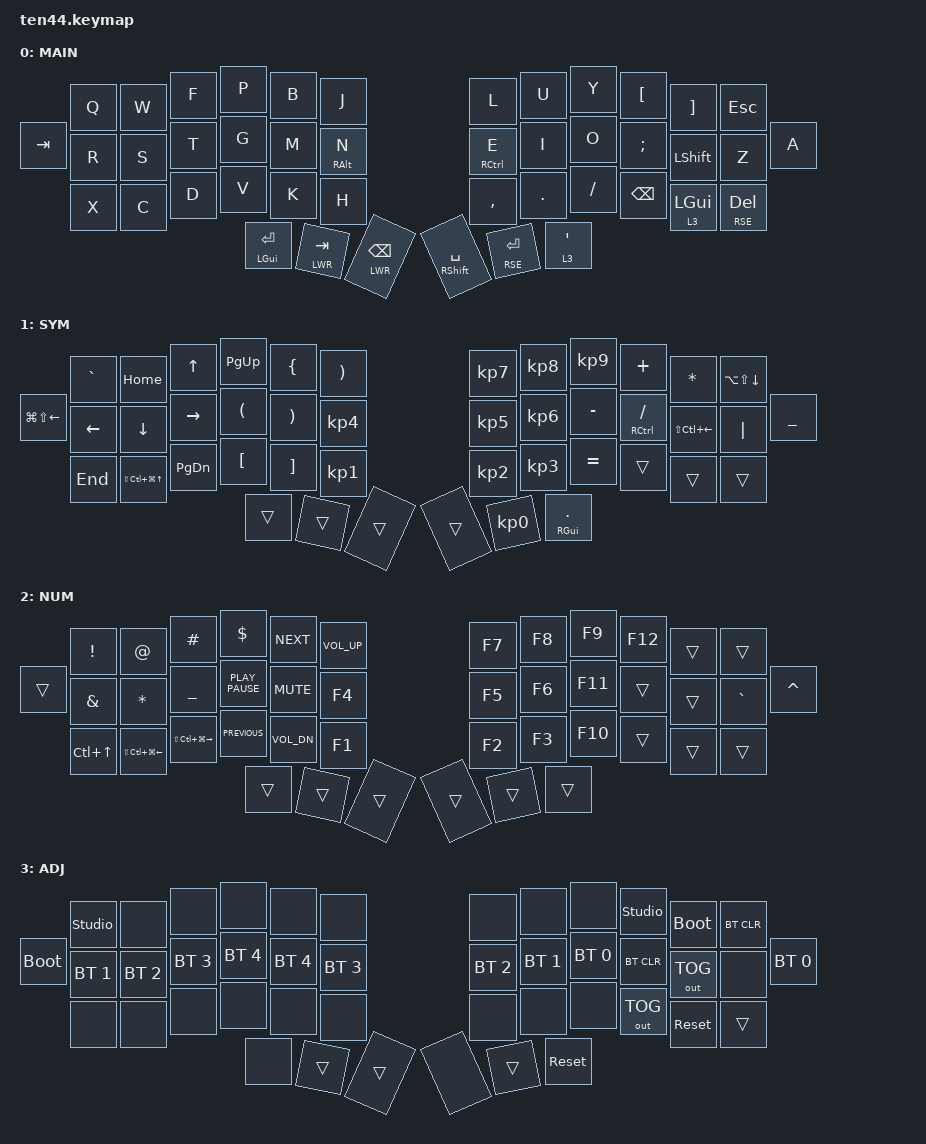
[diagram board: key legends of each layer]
/*
 * Copyright (c) 2020 The ZMK Contributors
 *
 * SPDX-License-Identifier: MIT
 */

#include <behaviors.dtsi>
#include <dt-bindings/zmk/bt.h>
#include <dt-bindings/zmk/keys.h>
#include <dt-bindings/zmk/outputs.h>

#define DEF 0
#define LWR 1
#define RSE 2
#define ADJ 3

&lt { quick-tap-ms = <200>; }; 
&mt { quick-tap-ms = <200>; };

/ {
    conditional_layers {
        compatible = "zmk,conditional-layers";

        tri_layer {
            if-layers = <LWR RSE>;
            then-layer = <ADJ>;
        };
    };

    keymap {
        compatible = "zmk,keymap";

        default_layer {
            display-name = "MAIN";

            // -----------------------------------------------------------------------------------------
            // |  TAB  |  Q  |  W  |  F  |  P  |  B  |                |  J  |  L   |  U  |  Y  |  [  |  ]   |
            // |  ESC  |  A  |  R  |  S  |  T  |  G  |                |  M  |  N   |  E  |  I  |  O  |  ;   |
            // | LSHFT |  Z  |  X  |  C  |  D  |  V  |                |  K  |  H   |  ,  |  .  |  /  | BSPC |
            //                     |  ⌘  | DEL | ENT | TAB |   | BSPC | SPC | ENT |  '  |

           bindings = <
&kp TAB     &kp Q  &kp W           &kp F        &kp P               &kp B          &kp J              &kp L            &kp U          &kp Y               &kp LEFT_BRACKET  &kp RIGHT_BRACKET
&kp ESC     &kp A  &kp R           &kp S        &kp T               &kp G          &kp M              &mt RIGHT_ALT N  &mt RCTRL E    &kp I               &kp O             &kp SEMICOLON
&kp LSHIFT  &kp Z  &kp X           &kp C        &kp D               &kp V          &kp K              &kp H            &kp COMMA      &kp DOT             &kp FSLH          &kp BACKSPACE
                   &lt 3 LEFT_GUI  &lt RSE DEL  &mt LEFT_GUI ENTER  &lt LWR TAB    &lt LWR BACKSPACE  &mt RSHFT SPACE  &lt RSE ENTER  &lt 3 SINGLE_QUOTE
                   >;
        };

        lower_layer {
            display-name = "SYM";

            // SL=Select Layer;
            // -----------------------------------------------------------------------------------------
            // |  SL← |  `  | Home |   Up  |  PgUp  |  {  |               |  }  |  7   |  8  |  9  |  +  |  *   |
            // |  SL↓ |  _  | Left |  Down |  Right |  (  |               |  )  |  4   |  5  |  6  |  -  |  /   |
            // |  SL→ |  |  | End  |   FS  |  PgDn  |  [  |               |  ]  |  1   |  2  |  3  |  =  |      |
            //                     |       |        |     |     |   |     |     |  0   |  .  |

            bindings = <
&kp LG(LS(LEFT))  &kp GRAVE       &kp HOME  &kp UP              &kp PAGE_UP    &kp LEFT_BRACE          &kp RIGHT_PARENTHESIS  &kp KP_N7        &kp KP_N8        &kp KP_NUMBER_9  &kp PLUS   &kp ASTERISK
&kp LA(LS(DOWN))  &kp UNDERSCORE  &kp LEFT  &kp DOWN            &kp RIGHT      &kp LEFT_PARENTHESIS    &kp RIGHT_PARENTHESIS  &kp KP_NUMBER_4  &kp KP_NUMBER_5  &kp KP_NUMBER_6  &kp MINUS  &mt RCTRL FSLH
&kp LS(LC(LEFT))  &kp PIPE        &kp END   &kp LS(LC(LG(UP)))  &kp PAGE_DOWN  &kp LEFT_BRACKET        &kp RIGHT_BRACKET      &kp KP_NUMBER_1  &kp KP_NUMBER_2  &kp KP_NUMBER_3  &kp EQUAL  &trans
                                  &trans    &trans              &trans         &trans                  &trans                 &trans           &kp KP_NUMBER_0  &mt RGUI PERIOD
            >;
        };

        raise_layer {
            display-name = "NUM";
            // ST=Screen Tab; SC = SplitScreen
            // -----------------------------------------------------------------------------------------
            // |    |  !  |  @  |  #  |  $  | >> |           | V+ | F7 | F8 | F9 | F12 |     |
            // |    |  ^  |  &  |  *  |  _  |Play|           |MUTE| F4 | F5 | F6 | F11 |     |
            // |    |  `  |  ST | SS← | SS→ | << |           | V- | F1 | F2 | F3 | F10 |     |
            //                  |     |     |    |    | |    |      |     |     |

            bindings = <
&trans  &kp EXCLAMATION  &kp AT_SIGN    &kp HASH              &kp DOLLAR             &kp C_NEXT          &kp C_VOL_UP  &kp F7  &kp F8  &kp F9  &kp F12  &trans
&trans  &kp CARET        &kp AMPERSAND  &kp ASTERISK          &kp UNDERSCORE         &kp K_PLAY_PAUSE    &kp C_MUTE    &kp F4  &kp F5  &kp F6  &kp F11  &trans
&trans  &kp GRAVE        &kp LC(UP)     &kp LS(LC(LG(LEFT)))  &kp LS(LC(LG(RIGHT)))  &kp K_PREVIOUS      &kp C_VOL_DN  &kp F1  &kp F2  &kp F3  &kp F10  &trans
                         &trans         &trans                &trans                 &trans              &trans        &trans  &trans  &trans
            >;
        };

        adjust_layer {
            display-name = "ADJ";

            // -----------------------------------------------------------------------------------------
            // |      |     |     |     |     |     |            |     |     |     |     |     |      |
            // | BTCLR| BT0 | BT1 | BT2 | BT3 | BT4 |            | BT4 | BT3 | BT2 | BT1 | BT0 | BTCLR|
            // | OUT  |     |     |     |     |     |            |     |     |     |     |     | OUT  |
            //                    |     |     |     |    |  |    |     |     |     |

            bindings = <
&bootloader   &studio_unlock  &none         &none         &none         &none           &none         &none         &none         &none         &studio_unlock  &bootloader
&bt BT_CLR    &bt BT_SEL 0    &bt BT_SEL 1  &bt BT_SEL 2  &bt BT_SEL 3  &bt BT_SEL 4    &bt BT_SEL 4  &bt BT_SEL 3  &bt BT_SEL 2  &bt BT_SEL 1  &bt BT_SEL 0    &bt BT_CLR
&out OUT_TOG  &none           &none         &none         &none         &none           &none         &none         &none         &none         &none           &out OUT_TOG
                              &sys_reset    &trans        &none         &trans          &trans        &none         &trans        &sys_reset
            >;
        };
    };
};
